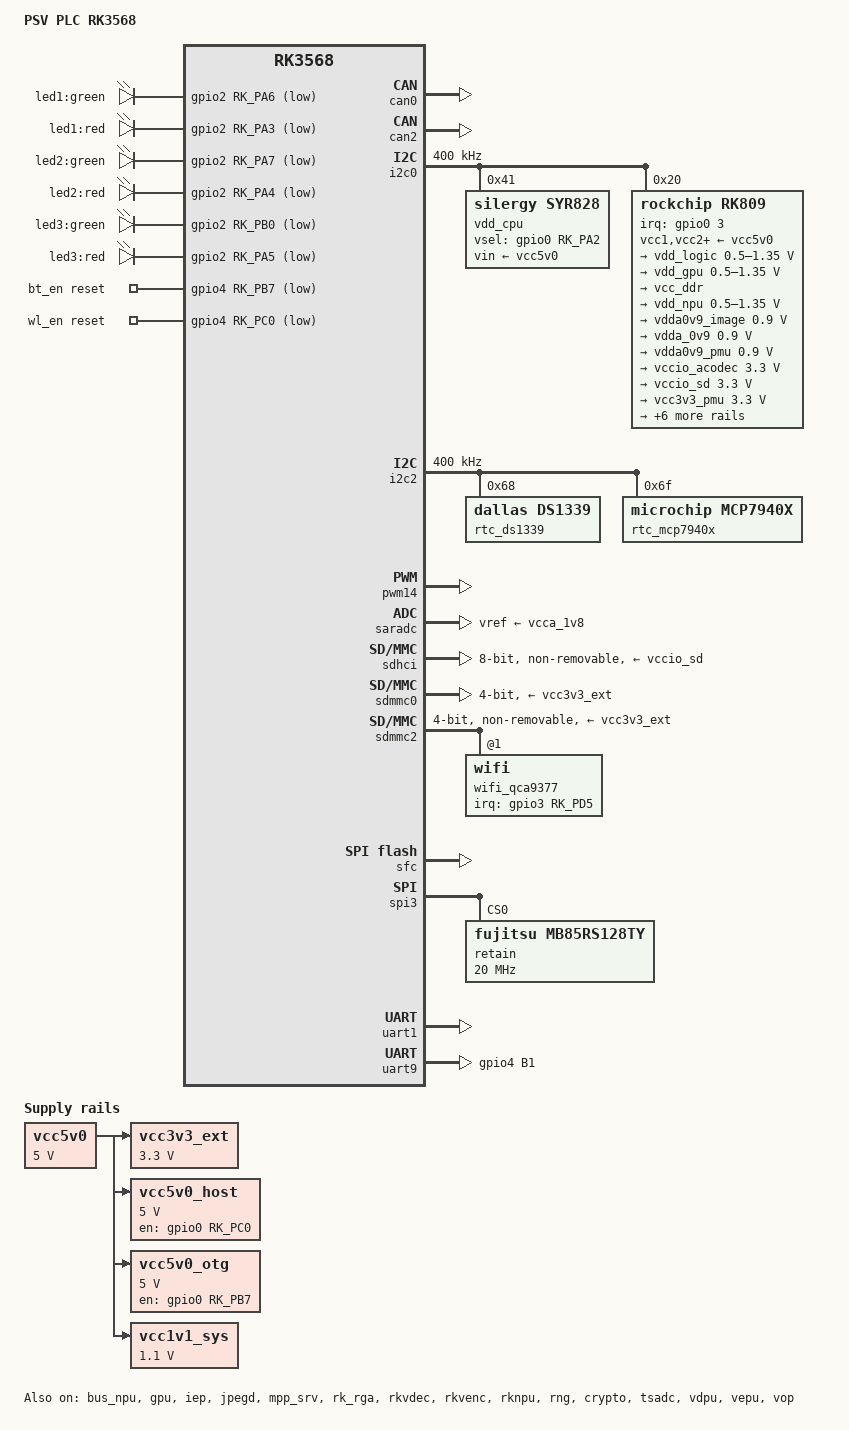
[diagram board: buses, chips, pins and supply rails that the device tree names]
// SPDX-License-Identifier: (GPL-2.0+ OR MIT)

/dts-v1/;

#include <dt-bindings/gpio/gpio.h>
#include <dt-bindings/pwm/pwm.h>
#include <dt-bindings/pinctrl/rockchip.h>
#include <dt-bindings/input/rk-input.h>
#include <dt-bindings/display/drm_mipi_dsi.h>
#include <dt-bindings/display/media-bus-format.h>
#include <dt-bindings/display/rockchip_vop.h>
#include <dt-bindings/sensor-dev.h>
#include "rk3568.dtsi"

/ {
	model = "PSV PLC RK3568";
	compatible = "rockchip,rk3568-psv-plc", "rockchip,rk3568";

    chosen {
        bootargs = "net.ifnames=0 biosdevname=0"; //name network interface from end0 back to the traditional eth0
    };

	aliases {
		mmc2 = &sdmmc2;
		serial0 = &uart1;	// RS232
		serial1 = &uart2;	// ������
		serial2 = &uart3;	// RS485-1
		serial3 = &uart4;	// RS485-2
		serial4 = &uart9;	// RS485-3
		serial5 = &uart7;	// GSM
		spi1 = &spi3;
	};

	fiq-debugger {
		compatible = "rockchip,fiq-debugger";
		// rockchip,serial-id = <2>;
		rockchip,serial-id = <0xffffffff>;
		rockchip,wake-irq = <0>;
		/* If enable uart uses irq instead of fiq */
		rockchip,irq-mode-enable = <1>;
		rockchip,baudrate = <1500000>;  /* Only 115200 and 1500000 */
		interrupts = <GIC_SPI 252 IRQ_TYPE_LEVEL_LOW>;
		pinctrl-names = "default";
		pinctrl-0 = <&uart2m0_xfer>;
		status = "disabled";
	};

	debug: debug@fd904000 {
		compatible = "rockchip,debug";
		reg = <0x0 0xfd904000 0x0 0x1000>,
			<0x0 0xfd905000 0x0 0x1000>,
			<0x0 0xfd906000 0x0 0x1000>,
			<0x0 0xfd907000 0x0 0x1000>;
	};

	cspmu: cspmu@fd90c000 {
		compatible = "rockchip,cspmu";
		reg = <0x0 0xfd90c000 0x0 0x1000>,
			<0x0 0xfd90d000 0x0 0x1000>,
			<0x0 0xfd90e000 0x0 0x1000>,
			<0x0 0xfd90f000 0x0 0x1000>;
	};

	leds {
		compatible = "gpio-leds";
		pinctrl-names = "default";
		pinctrl-0 =<&leds_gpio>;

		led1_green: led1_green {
			label = "led1:green";
			gpios = <&gpio2 RK_PA6 GPIO_ACTIVE_LOW>;
			linux,default-trigger = "mmc0";
			default-state = "off";
		};

		led1_red: led1_red {
			label = "led1:red";
			gpios = <&gpio2 RK_PA3 GPIO_ACTIVE_LOW>;
			linux,default-trigger = "mmc1";
			default-state = "off";
		};

		led2_green: led2_green {
			label = "led2:green";
			gpios = <&gpio2 RK_PA7 GPIO_ACTIVE_LOW>;
			linux,default-trigger = "usb-gadget";
			default-state = "off";
		};

		led2_red: led2_red {
			label = "led2:red";
			gpios = <&gpio2 RK_PA4 GPIO_ACTIVE_LOW>;
			linux,default-trigger = "usb-host";
			default-state = "off";
		};
                
		led3_green: led3_green {
			label = "led3:green";
			gpios = <&gpio2 RK_PB0 GPIO_ACTIVE_LOW>;
			default-state = "off";
		};
                
		led3_red: led3_red {
			label = "led3:red";
			gpios = <&gpio2 RK_PA5 GPIO_ACTIVE_LOW>;
			default-state = "off";
		};
	};

	vcc5v0: vcc5v0-regulator {
		compatible = "regulator-fixed";
		regulator-name = "vcc5v0";
		regulator-always-on;
		regulator-boot-on;
		regulator-min-microvolt = <5000000>;
		regulator-max-microvolt = <5000000>;
	};

	vcc3v3_ext: vcc3v3-ext-regulator {
		compatible = "regulator-fixed";
		regulator-name = "vcc3v3_ext";
		regulator-min-microvolt = <3300000>;
		regulator-max-microvolt = <3300000>;
		regulator-always-on;
		vin-supply = <&vcc5v0>;
	};

	vcc5v0_host: vcc5v0-host-regulator {
		compatible = "regulator-fixed";
		regulator-name = "vcc5v0_host";
		// regulator-boot-on;
		// regulator-always-on;
		regulator-min-microvolt = <5000000>;
		regulator-max-microvolt = <5000000>;
		enable-active-high;
		gpio = <&gpio0 RK_PC0 GPIO_ACTIVE_LOW>;
		vin-supply = <&vcc5v0>;
		pinctrl-names = "default";
		pinctrl-0 = <&vcc5v0_host_en>;
	};

	vcc5v0_otg: vcc5v0-otg-regulator {
		compatible = "regulator-fixed";
		regulator-name = "vcc5v0_otg";
		regulator-min-microvolt = <5000000>;
		regulator-max-microvolt = <5000000>;
		enable-active-high;
		gpio = <&gpio0 RK_PB7 GPIO_ACTIVE_HIGH>;
		vin-supply = <&vcc5v0>;
		pinctrl-names = "default";
		pinctrl-0 = <&vcc5v0_otg_en>;
	};

	vcc1v1_sys: vcc1v1-ddr {
		compatible = "regulator-fixed";
		regulator-name = "vcc1v1-sys";
		regulator-always-on;
		regulator-boot-on;
		regulator-min-microvolt = <1100000>;
		regulator-max-microvolt = <1100000>;
		vin-supply = <&vcc5v0>;
	};

	bt_en: bt-en {
		compatible = "mmc-pwrseq-emmc";
		pinctrl-names = "default";
		pinctrl-0 = <&GPIO6_pin>;
		reset-gpios = <&gpio4 RK_PB7 GPIO_ACTIVE_LOW>;
	};

	wl_en: wl-en {
		compatible = "mmc-pwrseq-emmc";
		pinctrl-names = "default";
		pinctrl-0 = <&GPIO5_pin>;
		reset-gpios = <&gpio4 RK_PC0 GPIO_ACTIVE_LOW>;
	};

	test-power {
		status = "okay";
	};
};

&bus_npu {
	bus-supply = <&vdd_logic>;
	pvtm-supply = <&vdd_cpu>;
	status = "okay";
};

&can0 {
	assigned-clocks = <&cru CLK_CAN0>;
	assigned-clock-rates = <200000000>;
	pinctrl-names = "default";
	pinctrl-0 = <&can0m0_pins>;
	status = "okay";
};

&can2 {
	assigned-clocks = <&cru CLK_CAN2>;
	assigned-clock-rates = <200000000>;
	pinctrl-names = "default";
	pinctrl-0 = <&can2m1_pins>;
	status = "okay";
};

/* USB 3.0 OTG/SATA Combo PHY_0 */
&combphy0_us {
	status = "disabled";
};

/* USB 3.0 Host/SATA/QSGMII Combo PHY_1 */
&combphy1_usq {
	status = "disabled";
};

&combphy2_psq {
	status = "disabled";
};

&cpu0 {
	cpu-supply = <&vdd_cpu>;
};

&dfi {
	// status = "okay";
	status = "disabled";	// Should disable if dmc disable
};

&dmc {
	center-supply = <&vdd_logic>;
	auto-freq-en = <0>;
	status = "disabled";	// Because hung up boot kernel
};

&gpu {
	mali-supply = <&vdd_gpu>;
	status = "okay";
};

&gpu_power_model {
	compatible = "arm,mali-simple-power-model";
};

&i2c0 {
	status = "okay";
	clock-frequency = <400000>;

	vdd_cpu: syr828@41 {
		compatible = "silergy,syr828";
		reg = <0x41>;
		vin-supply = <&vcc5v0>;
		regulator-compatible = "fan53555-reg";
		regulator-name = "vdd_cpu";
		regulator-min-microvolt = <712500>;
		regulator-max-microvolt = <1390000>;
		regulator-init-microvolt = <1125000>; // for 1800 MHz
		regulator-ramp-delay = <2300>;
		fcs,suspend-voltage-selector = <1>;
		pinctrl-0 = <&soc_slppin_slp>;
		vsel-gpios = <&gpio0 RK_PA2 GPIO_ACTIVE_HIGH>;
		regulator-boot-on;
		regulator-always-on;
		regulator-state-mem {
			regulator-off-in-suspend;
		};
	};

	rk809: pmic@20 {
		compatible = "rockchip,rk809";
		reg = <0x20>;
		interrupt-parent = <&gpio0>;
		interrupts = <3 IRQ_TYPE_LEVEL_LOW>;

		pinctrl-names = "default", "pmic-sleep",
				"pmic-power-off", "pmic-reset";
		pinctrl-0 = <&pmic_int>;
		pinctrl-1 = <&soc_slppin_slp>, <&rk817_slppin_slp>;
		pinctrl-2 = <&soc_slppin_gpio>, <&rk817_slppin_pwrdn>;
		pinctrl-3 = <&soc_slppin_gpio>, <&rk817_slppin_rst>;

		rockchip,system-power-controller;
		wakeup-source;
		#clock-cells = <1>;
		clock-output-names = "rk808-clkout1", "rk808-clkout2";
		//fb-inner-reg-idxs = <2>;
		/* 1: rst regs (default in codes), 0: rst the pmic */
		pmic-reset-func = <0>;
		/* not save the PMIC_POWER_EN register in uboot */
		not-save-power-en = <1>;

		vcc1-supply = <&vcc5v0>;
		vcc2-supply = <&vcc5v0>;
		vcc3-supply = <&vcc5v0>;
		vcc4-supply = <&vcc5v0>;
		vcc5-supply = <&vcc5v0>;
		vcc6-supply = <&vcc5v0>;
		vcc7-supply = <&vcc5v0>;
		vcc8-supply = <&vcc5v0>;
		vcc9-supply = <&vcc5v0>;

		pwrkey {
			status = "okay";
		};

		pinctrl_rk8xx: pinctrl_rk8xx {
			gpio-controller;
			#gpio-cells = <2>;

			rk817_slppin_null: rk817_slppin_null {
				pins = "gpio_slp";
				function = "pin_fun0";
			};

			rk817_slppin_slp: rk817_slppin_slp {
				pins = "gpio_slp";
				function = "pin_fun1";
			};

			rk817_slppin_pwrdn: rk817_slppin_pwrdn {
				pins = "gpio_slp";
				function = "pin_fun2";
			};

			rk817_slppin_rst: rk817_slppin_rst {
				pins = "gpio_slp";
				function = "pin_fun3";
			};
		};

		regulators {
			vdd_logic: DCDC_REG1 {
				regulator-always-on;
				regulator-boot-on;
				regulator-min-microvolt = <500000>;
				regulator-max-microvolt = <1350000>;
				regulator-init-microvolt = <900000>;
				regulator-ramp-delay = <6001>;
				regulator-initial-mode = <0x2>;
				regulator-name = "vdd_logic";
				regulator-state-mem {
					regulator-off-in-suspend;
				};
			};

			vdd_gpu: DCDC_REG2 {
				regulator-always-on;
				regulator-boot-on;
				regulator-min-microvolt = <500000>;
				regulator-max-microvolt = <1350000>;
				regulator-init-microvolt = <900000>;
				regulator-ramp-delay = <6001>;
				regulator-initial-mode = <0x2>;
				regulator-name = "vdd_gpu";
				regulator-state-mem {
					regulator-off-in-suspend;
				};
			};

			vcc_ddr: DCDC_REG3 {
				regulator-always-on;
				regulator-boot-on;
				regulator-initial-mode = <0x2>;
				regulator-name = "vcc_ddr";
				regulator-state-mem {
					regulator-on-in-suspend;
				};
			};

			vdd_npu: DCDC_REG4 {
				regulator-always-on;
				regulator-boot-on;
				regulator-min-microvolt = <500000>;
				regulator-max-microvolt = <1350000>;
				regulator-init-microvolt = <900000>;
				regulator-ramp-delay = <6001>;
				regulator-initial-mode = <0x2>;
				regulator-name = "vdd_npu";
				regulator-state-mem {
					regulator-off-in-suspend;
				};
			};

			vdda0v9_image: LDO_REG1 {
				regulator-boot-on;
				regulator-always-on;
				regulator-min-microvolt = <900000>;
				regulator-max-microvolt = <900000>;
				regulator-name = "vdda0v9_image";
				regulator-state-mem {
					regulator-off-in-suspend;
				};
			};

			vdda_0v9: LDO_REG2 {
				regulator-always-on;
				regulator-boot-on;
				regulator-min-microvolt = <900000>;
				regulator-max-microvolt = <900000>;
				regulator-name = "vdda_0v9";
				regulator-state-mem {
					regulator-off-in-suspend;
				};
			};

			vdda0v9_pmu: LDO_REG3 {
				regulator-always-on;
				regulator-boot-on;
				regulator-min-microvolt = <900000>;
				regulator-max-microvolt = <900000>;
				regulator-name = "vdda0v9_pmu";
				regulator-state-mem {
					regulator-on-in-suspend;
					regulator-suspend-microvolt = <900000>;
				};
			};

			vccio_acodec: LDO_REG4 {
				regulator-always-on;
				regulator-boot-on;
				regulator-min-microvolt = <3300000>;
				regulator-max-microvolt = <3300000>;
				regulator-name = "vccio_acodec";
				regulator-state-mem {
					regulator-off-in-suspend;
				};
			};

			vccio_sd: LDO_REG5 {
				regulator-always-on;
				regulator-boot-on;
				regulator-min-microvolt = <3300000>;
				regulator-max-microvolt = <3300000>;
				regulator-name = "vccio_sd";
				regulator-state-mem {
					regulator-off-in-suspend;
				};
			};

			vcc3v3_pmu: LDO_REG6 {
				regulator-always-on;
				regulator-boot-on;
				regulator-min-microvolt = <3300000>;
				regulator-max-microvolt = <3300000>;
				regulator-name = "vcc3v3_pmu";
				regulator-state-mem {
					regulator-on-in-suspend;
					regulator-suspend-microvolt = <3300000>;
				};
			};

			vcca_1v8: LDO_REG7 {
				regulator-always-on;
				regulator-boot-on;
				regulator-min-microvolt = <1800000>;
				regulator-max-microvolt = <1800000>;
				regulator-name = "vcca_1v8";
				regulator-state-mem {
					regulator-off-in-suspend;
				};
			};

			vcca1v8_pmu: LDO_REG8 {
				regulator-always-on;
				regulator-boot-on;
				regulator-min-microvolt = <1800000>;
				regulator-max-microvolt = <1800000>;
				regulator-name = "vcca1v8_pmu";
				regulator-state-mem {
					regulator-on-in-suspend;
					regulator-suspend-microvolt = <1800000>;
				};
			};

			vcca1v8_image: LDO_REG9 {
				regulator-always-on;
				regulator-boot-on;
				regulator-min-microvolt = <1800000>;
				regulator-max-microvolt = <1800000>;
				regulator-name = "vcca1v8_image";
				regulator-state-mem {
					regulator-off-in-suspend;
				};
			};

			vcc_1v8: DCDC_REG5 {
				regulator-always-on;
				regulator-boot-on;
				regulator-min-microvolt = <1800000>;
				regulator-max-microvolt = <1800000>;
				regulator-name = "vcc_1v8";
				regulator-state-mem {
					regulator-off-in-suspend;
				};
			};

			vcc_3v3: SWITCH_REG1 {
				regulator-always-on;
				regulator-boot-on;
				regulator-name = "vcc_3v3";
				regulator-state-mem {
					regulator-off-in-suspend;
				};
			};

			vcc3v3_sd: SWITCH_REG2 {
				regulator-always-on;
				regulator-boot-on;
				regulator-name = "vcc3v3_sd";
				regulator-state-mem {
					regulator-off-in-suspend;
				};
			};
		};

		rk809_codec: codec {
			compatible = "rockchip,rk809-codec", "rockchip,rk817-codec";
			status = "disabled";
		};

		battery {
			compatible = "rk817,battery";
			status = "disabled";
		};

		charger {
			compatible = "rk817,charger";
			status = "disabled";
		};
	};
};

&i2c2 {
	pinctrl-names = "default";
	pinctrl-0 = <&i2c2m1_xfer>;
	status = "okay";
	
	clock-frequency = <400000>;

	rtc_ds1339: rtc@68 {
		compatible = "dallas,ds1339";
		reg = <0x68>;
	};

	rtc_mcp7940x: mcp7940x@6f {
		compatible = "microchip,mcp7940x";
		reg = <0x6f>;
	};
};

&iep {
	status = "okay";
};

&iep_mmu {
	status = "okay";
};

&jpegd {
	status = "okay";
};

&jpegd_mmu {
	status = "okay";
};

&mpp_srv {
	status = "okay";
};

&pinctrl {

	pinctrl-names = "default";
	pinctrl-0 = <&refclk_pins>;

	bt-en {
		GPIO6_pin: GPIO6-pin {
			rockchip,pins = <4 RK_PB7 RK_FUNC_GPIO &pcfg_pull_down>;
		};
	};

	leds {
		leds_gpio: leds-gpio {
			rockchip,pins =
				<2 RK_PA6 RK_FUNC_GPIO &pcfg_pull_up>,
				<2 RK_PA3 RK_FUNC_GPIO &pcfg_pull_up>,
				<2 RK_PA7 RK_FUNC_GPIO &pcfg_pull_up>,
				<2 RK_PA4 RK_FUNC_GPIO &pcfg_pull_up>,
				<2 RK_PB0 RK_FUNC_GPIO &pcfg_pull_up>,
				<2 RK_PA5 RK_FUNC_GPIO &pcfg_pull_up>;
		};
	};

	pmic {
		pmic_int: pmic_int {
			rockchip,pins =
				<0 RK_PA3 RK_FUNC_GPIO &pcfg_pull_up>;
		};

		soc_slppin_gpio: soc_slppin_gpio {
			rockchip,pins =
				<0 RK_PA2 RK_FUNC_GPIO &pcfg_output_low_pull_down>;
		};

		soc_slppin_slp: soc_slppin_slp {
			rockchip,pins =
				<0 RK_PA2 1 &pcfg_pull_up>;
		};

		soc_slppin_rst: soc_slppin_rst {
			rockchip,pins =
				<0 RK_PA2 2 &pcfg_pull_none>;
		};
	};

	uart3 { // RS485-1_R/T
		RS485_1_RT_pin: RS485-1_RT-pin {
			rockchip,pins = <4 RK_PA0 RK_FUNC_GPIO &pcfg_pull_down>;
		};
	};

	uart4 { // RS485-2_R/T
		RS485_2_RT_pin: RS485-2_RT-pin {
			rockchip,pins = <4 RK_PA1 RK_FUNC_GPIO &pcfg_pull_down>;
		};
	};

	uart7 { // GPIO0 - resGSM_pins
		GPIO0_pin: GPIO0-pin {
			rockchip,pins = <4 RK_PD1 RK_FUNC_GPIO &pcfg_pull_up>;
		};
	};

	uart9 { // RS485-3_R/T
		RS485_3_RT_pin: RS485-3_RT-pin {
			rockchip,pins = <4 RK_PB1 RK_FUNC_GPIO &pcfg_pull_down>;
		};
	};

	usb {
		vcc5v0_host_en: vcc5v0-host-en {
			rockchip,pins = <0 RK_PC0 RK_FUNC_GPIO &pcfg_pull_none>;
		};

		vcc5v0_otg_en: vcc5v0-otg-en {
			rockchip,pins = <0 RK_PB7 RK_FUNC_GPIO &pcfg_pull_none>;
		};
	};

	wlan-en {
		GPIO5_pin: GPIO5-pin {
			rockchip,pins = <4 RK_PC0 RK_FUNC_GPIO &pcfg_pull_none>;
		};
	};
};

 /*
  * There are 10 independent IO domains in RK3566/RK3568, including PMUIO[0:2] and VCCIO[1:7].
  * 1/ PMUIO0 and PMUIO1 are fixed-level power domains which cannot be configured;
  * 2/ PMUIO2 and VCCIO1,VCCIO[3:7] domains require that their hardware power supply voltages
  *    must be consistent with the software configuration correspondingly
  *	a/ When the hardware IO level is connected to 1.8V, the software voltage configuration
  *	   should also be configured to 1.8V accordingly;
  *	b/ When the hardware IO level is connected to 3.3V, the software voltage configuration
  *	   should also be configured to 3.3V accordingly;
  * 3/ VCCIO2 voltage control selection (0xFDC20140)
  *	BIT[0]: 0x0: from GPIO_0A7 (default)
  *	BIT[0]: 0x1: from GRF
  *    Default is determined by Pin FLASH_VOL_SEL/GPIO0_A7:
  *	L:VCCIO2 must supply 3.3V
  *	H:VCCIO2 must supply 1.8V
  */
&pmu_io_domains {
	status = "okay";
	pmuio2-supply = <&vcc3v3_pmu>;
	vccio1-supply = <&vcc3v3_pmu>;
	vccio3-supply = <&vccio_sd>;
	vccio4-supply = <&vccio_sd>;
	vccio5-supply = <&vccio_sd>;
	vccio6-supply = <&vccio_sd>;
	vccio7-supply = <&vccio_sd>;
};

&pwm14 {
	status = "okay";
};

&display_subsystem {
    /delete-property/ memory-region;
	/delete-property/ memory-region-names;
};

&reserved_memory {
	ramoops: ramoops@110000 {
		compatible = "ramoops";
		reg = <0x0 0x110000 0x0 0xf0000>;
		record-size = <0x20000>;
		console-size = <0x80000>;
		ftrace-size = <0x00000>;
		pmsg-size = <0x50000>;
	};

	/delete-node/ drm-logo@0;
	/delete-node/ drm-cubic-lut@0;
};

&rk_rga {
	status = "okay";
};

&rkvdec {
	status = "okay";
};

&rkvdec_mmu {
	status = "okay";
};

&rkvenc {
	venc-supply = <&vdd_logic>;
	status = "okay";
};

&rkvenc_mmu {
	status = "okay";
};

&rknpu {
	rknpu-supply = <&vdd_npu>;
	status = "okay";
};

&rknpu_mmu {
	status = "okay";
};

&rng {
	status = "okay";
};

&crypto {
	status = "okay";
};

&rockchip_suspend {
	status = "okay";
};

&saradc {
	status = "okay";
	vref-supply = <&vcca_1v8>;
};

&sdhci {
	bus-width = <8>;
	vmmc-supply = <&vccio_sd>;
	vqmmc-supply = <&vcc_1v8>;
	no-sdio;
	no-sd;
	non-removable;
	max-frequency = <200000000>;
	status = "okay";
};

&sdmmc0 {
	/* front micro-SD */
	supports-sd;
	bus-width = <4>;
	vmmc-supply = <&vcc3v3_ext>;
	vqmmc-supply = <&vcc3v3_ext>;
	pinctrl-names = "default";
	status = "okay";
};

&sdmmc2 {
	/* WiFi/extSD */
	pinctrl-names = "default";
	pinctrl-0 = <&sdmmc2m0_bus4 &sdmmc2m0_cmd &sdmmc2m0_clk>;
	max-frequency = <50000000>;
	supports-sdio;
	bus-width = <4>;
	vmmc-supply = <&vcc3v3_ext>;
	vqmmc-supply = <&vcc3v3_ext>;
	mmc-pwrseq = <&wl_en>;
	non-removable;
	#address-cells = <1>;
	#size-cells = <0>;
	status = "okay";

    wifi_qca9377: wifi@1 {
        reg = <1>;
		interrupt-parent = <&gpio3>;
		interrupts = <RK_PD5 IRQ_TYPE_LEVEL_HIGH>;
		interrupt-names = "host-wake";
    };
};

&sfc {
	status = "okay";
};

&spi3 {
	pinctrl-names = "default";
	pinctrl-0 = <&spi3m0_pins &spi3m0_cs0 &spi3m0_cs1>;
	status = "okay";

	retain: retain@0 {
		compatible = "fujitsu,mb85rs128ty", "atmel,at25";
		reg = <0>;
		spi-max-frequency = <20000000>;
		spi-cpha;
		spi-cpol;
		pagesize = <16384>;
		size = <16384>;
		address-width = <16>;
	};
};

&tsadc {
	status = "okay";
};

&uart0 {
	status = "disabled";
};

&uart1 {
	// RS232 - console
	status = "okay";
	pinctrl-names = "default";
	pinctrl-0 = <&uart1m1_xfer &uart1m1_ctsn &uart1m1_rtsn>;
};

&uart9 {
	// RS485-3
	status = "okay";
	pinctrl-names = "default";
	pinctrl-0 = <&uart9m2_xfer &RS485_3_RT_pin>;
	dir-gpio = <&gpio4 RK_PB1 GPIO_ACTIVE_HIGH>;
};

&vdpu {
	status = "okay";
};

&vdpu_mmu {
	status = "okay";
};

&vepu {
	status = "okay";
};

&vepu_mmu {
	status = "okay";
};

&vop {
	status = "okay";
	vop-supply = <&vdd_logic>;
	assigned-clocks = <&cru DCLK_VOP0>, <&cru DCLK_VOP1>;
	assigned-clock-parents = <&pmucru PLL_HPLL>, <&cru PLL_VPLL>;
	disable-win-move;
};

&vop_mmu {
	status = "okay";
};

&pmu {
	status = "okay";
};
